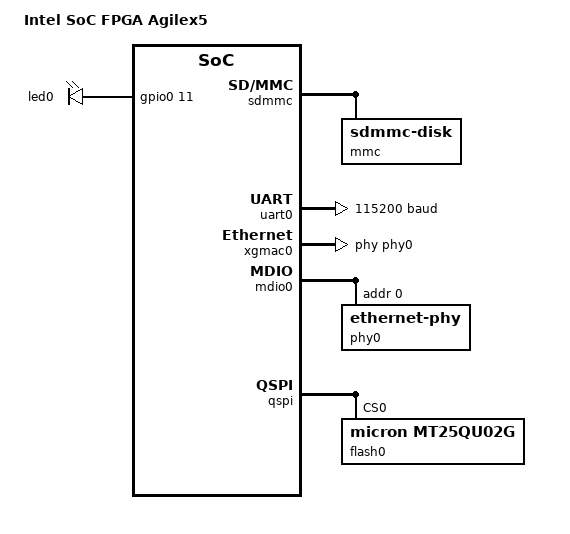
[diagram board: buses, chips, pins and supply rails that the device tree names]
/*
 * Copyright (c) 2024, Intel Corporation.
 *
 * SPDX-License-Identifier: Apache-2.0
 */

/dts-v1/;

#include <intel/intel_socfpga_agilex5.dtsi>

/ {
	compatible = "intel,socfpga-agilex5";
	model = "Intel SoC FPGA Agilex5";

	chosen {
		zephyr,console = &uart0;
		zephyr,shell-uart = &uart0;
		zephyr,sram = &mem0;
	};

	aliases {
		led0 = &led0;
	};

	leds {
		compatible = "gpio-leds";

		led0: led0 {
			gpios = <&gpio0 11 GPIO_ACTIVE_HIGH>;
		};
	};
};

&gpio0 {
	status = "okay";
};

&gpio1 {
	status = "okay";
};

&sdmmc {
	status = "okay";

	mmc {
		/*SD Disk Access */
		compatible = "zephyr,sdmmc-disk";
		disk-name = "SD";
		status = "okay";
	};
};

&uart0 {
	current-speed = <115200>;
	status = "okay";
};

&xgmac0 {
	full-duplex-mode-en;
	num-dma-ch = <1>;
	num-tx-queues = <1>;
	num-rx-queues = <1>;
	num-tc = <1>;
	dma-ch-rdrl = <128>;
	dma-ch-tdrl = <128>;
	max-speed = <1000>;
	max-frame-size = <9018>;
	jumbo-pkt-en;
	phy-handle = <&phy0>;
	zephyr,random-mac-address;
};

&mdio0 {
	csr-clock-indx = <4>;

	phy0: phy@0 {
		compatible = "ethernet-phy";
		reg = <0>;
	};
};

&qspi {
	flash0: flash@0 {
		compatible = "micron,mt25qu02g";
		reg = <0>;
		size = <DT_SIZE_M(256*8)>; /* in bits */
		sector-size = <65536>;
		subsector-size = <4096>;
		page-size = <256>;
		address-byte = <2>;
		bytes-per-block = <16>;
		status = "okay";
	};
};
